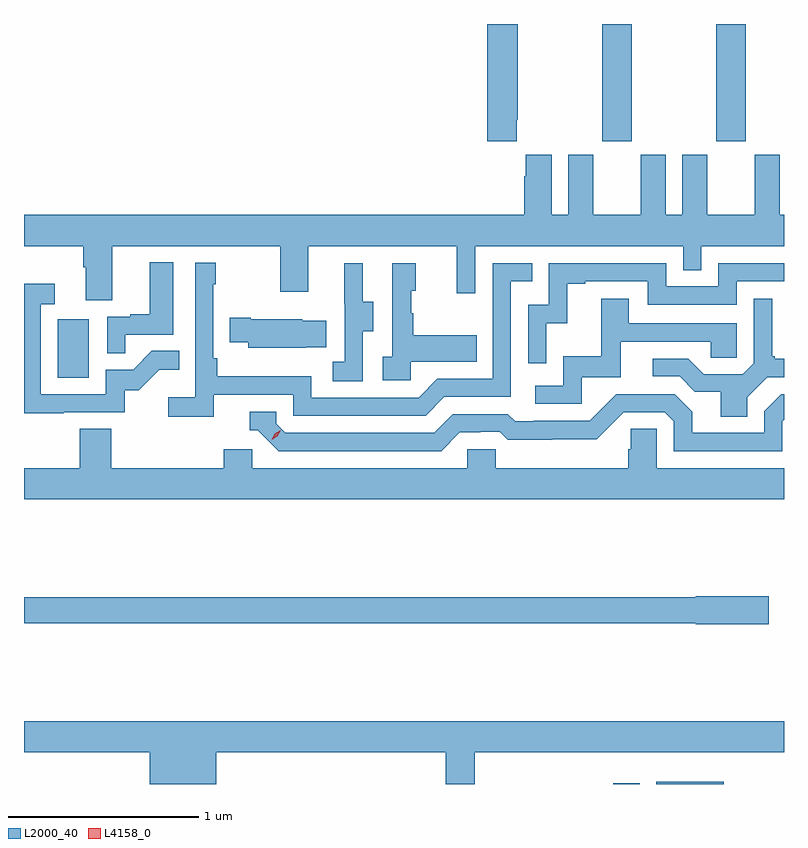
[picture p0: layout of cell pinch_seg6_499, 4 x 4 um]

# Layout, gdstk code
import gdstk
lib = gdstk.Library(unit=1e-6, precision=1e-09)
def R(c, l, rs):  # rectangles x0, y0, x1, y1
    for r in rs: c.add(gdstk.rectangle(r[:2], r[2:], *l))
def P(c, l, *ps):  # polygons
    for p in ps: c.add(gdstk.Polygon(p, *l))
L2000_40 = (2000, 40)
L4158_0 = (4158, 0)

pinch_seg6_499 = lib.new_cell('pinch_seg6_499')
R(pinch_seg6_499, L2000_40, [(868.877,928.521,869.017,928.525), (869.103,928.521,869.459,928.534), (865.952,930.66,866.116,930.967), (868.819,931.905,868.974,932.521), (869.419,931.905,869.574,932.521)])
P(pinch_seg6_499, L2000_40, [(868.369,932.017),(868.374,932.017),(868.374,932.521),(868.214,932.521),(868.214,931.905),(868.369,931.905)],
  [(866.239,931.352),(867.124,931.352),(867.124,931.113),(867.271,931.113),(867.271,931.352),(868.052,931.352),(868.052,931.104),(868.149,931.104),(868.149,931.352),(869.244,931.352),(869.244,931.225),(869.34,931.225),(869.34,931.352),(869.775,931.352),(869.775,931.516),(869.752,931.516),(869.752,931.834),(869.621,931.834),(869.621,931.516),(869.371,931.516),(869.371,931.834),(869.24,931.834),(869.24,931.516),(869.152,931.516),(869.152,931.834),(869.021,931.834),(869.021,931.516),(868.771,931.516),(868.771,931.834),(868.64,931.834),(868.64,931.516),(868.552,931.516),(868.552,931.834),(868.415,931.834),(868.415,931.721),(868.409,931.721),(868.409,931.516),(865.775,931.516),(865.775,931.352),(866.087,931.352),(866.087,931.24),(866.099,931.24),(866.099,931.066),(866.239,931.066)],
  [(866.309,930.885),(866.56,930.885),(866.56,931.267),(866.438,931.267),(866.438,930.994),(866.335,930.994),(866.335,930.981),(866.214,930.981),(866.214,930.787),(866.309,930.787)],
  [(866.774,930.57),(867.192,930.57),(867.192,930.459),(867.889,930.459),(867.988,930.558),(868.338,930.558),(868.338,931.167),(868.451,931.167),(868.451,931.263),(868.242,931.263),(868.242,930.654),(867.951,930.654),(867.852,930.555),(867.288,930.555),(867.288,930.667),(866.792,930.667),(866.792,930.763),(866.772,930.763),(866.772,931.151),(866.785,931.151),(866.785,931.264),(866.676,931.264),(866.676,930.556),(866.535,930.556),(866.535,930.454),(866.774,930.454)],
  [(868.524,930.947),(868.634,930.947),(868.634,931.155),(868.729,931.155),(868.729,931.167),(869.058,931.167),(869.058,931.044),(869.526,931.044),(869.526,931.167),(869.775,931.167),(869.775,931.263),(869.43,931.263),(869.43,931.14),(869.154,931.14),(869.154,931.263),(868.536,931.263),(868.536,931.044),(868.428,931.044),(868.428,930.735),(868.524,930.735)],
  [(867.81,930.743),(868.157,930.743),(868.157,930.883),(867.823,930.883),(867.823,930.998),(867.813,930.998),(867.813,931.116),(867.838,931.116),(867.838,931.261),(867.714,931.261),(867.714,930.77),(867.663,930.77),(867.663,930.645),(867.81,930.645)],
  [(867.558,930.904),(867.613,930.904),(867.613,931.059),(867.559,931.059),(867.559,931.261),(867.461,931.261),(867.461,931.047),(867.462,931.047),(867.462,930.743),(867.399,930.743),(867.399,930.64),(867.558,930.64)],
  [(865.985,930.477),(866.304,930.477),(866.304,930.594),(866.38,930.594),(866.487,930.701),(866.591,930.701),(866.591,930.8),(866.448,930.8),(866.35,930.702),(866.205,930.702),(866.205,930.573),(865.863,930.573),(865.863,931.047),(865.936,931.047),(865.936,931.153),(865.775,931.153),(865.775,930.472),(865.985,930.472)],
  [(869.581,930.556),(869.688,930.663),(869.775,930.663),(869.775,930.76),(869.725,930.76),(869.725,930.772),(869.713,930.772),(869.713,931.075),(869.616,931.075),(869.616,930.735),(869.559,930.678),(869.353,930.678),(869.272,930.759),(869.085,930.759),(869.085,930.666),(869.226,930.666),(869.306,930.586),(869.441,930.586),(869.441,930.454),(869.581,930.454)],
  [(868.71,930.663),(868.915,930.663),(868.915,930.849),(869.389,930.849),(869.389,930.765),(869.526,930.765),(869.526,930.945),(868.957,930.945),(868.957,931.075),(868.813,931.075),(868.813,930.772),(868.614,930.772),(868.614,930.618),(868.467,930.618),(868.467,930.522),(868.71,930.522)],
  [(867.257,930.821),(867.365,930.821),(867.365,930.958),(867.24,930.958),(867.24,930.967),(866.968,930.967),(866.968,930.975),(866.857,930.975),(866.857,930.845),(866.955,930.845),(866.955,930.818),(867.257,930.818)],
  [(868.069,930.372),(868.176,930.372),(868.176,930.375),(868.279,930.375),(868.321,930.333),(868.554,930.333),(868.554,930.335),(868.79,930.335),(868.932,930.477),(869.148,930.477),(869.196,930.429),(869.196,930.273),(869.766,930.273),(869.766,930.429),(869.775,930.438),(869.775,930.573),(869.76,930.573),(869.67,930.483),(869.67,930.369),(869.293,930.369),(869.293,930.479),(869.199,930.573),(868.893,930.573),(868.752,930.432),(868.459,930.432),(868.459,930.429),(868.36,930.429),(868.321,930.468),(868.032,930.468),(867.933,930.369),(867.15,930.369),(867.102,930.417),(867.102,930.48),(866.963,930.48),(866.963,930.384),(867.006,930.384),(867.117,930.273),(867.97,930.273)],
  [(869.775,930.184),(869.106,930.184),(869.106,930.392),(868.969,930.392),(868.969,930.282),(868.955,930.282),(868.955,930.184),(868.257,930.184),(868.257,930.282),(868.107,930.282),(868.107,930.184),(866.976,930.184),(866.976,930.282),(866.825,930.282),(866.825,930.184),(866.234,930.184),(866.234,930.392),(866.069,930.392),(866.069,930.184),(865.775,930.184),(865.775,930.02),(869.775,930.02)],
  [(869.695,929.51),(869.31,929.51),(869.31,929.504),(865.775,929.504),(865.775,929.368),(869.31,929.368),(869.31,929.363),(869.695,929.363)],
  [(866.788,928.688),(867.995,928.688),(867.995,928.521),(868.147,928.521),(868.147,928.688),(869.775,928.688),(869.775,928.852),(865.775,928.852),(865.775,928.688),(866.438,928.688),(866.438,928.521),(866.788,928.521)])
P(pinch_seg6_499, L4158_0, [(867.078,930.332),(867.078,930.332),(867.094,930.364),(867.125,930.383),(867.125,930.383),(867.125,930.383),(867.109,930.351),(867.078,930.332)])

lib.write_gds('pinch_seg6_499.gds')
